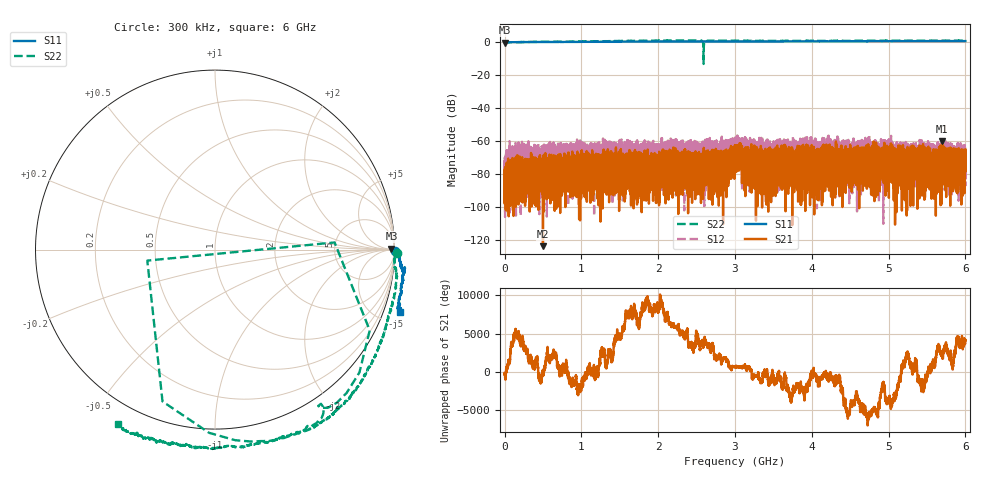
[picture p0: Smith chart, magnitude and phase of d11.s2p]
!Agilent Technologies,N5230C,SG49000117,A.08.50.07
!Agilent N5230C: A.08.50.07
!Date: Friday, May 17, 2024 03:34:48
!Correction: S11(Full 2 Port(1,2))
!S21(Full 2 Port(1,2))
!S12(Full 2 Port(1,2))
!S22(Full 2 Port(1,2))
!S2P File: Measurements: S11, S21, S12, S22:
# Hz S  MA  R 50
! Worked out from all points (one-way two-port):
!   20001 points, 300 kHz to 6 GHz, reference 50 ohm
!   highest |S21| = -60.07 dB at 5.697 GHz (marker M1); lowest = -123.7 dB at 499.8 MHz (marker M2)
!   lowest |S11| = -0.1 dB at 600 kHz (marker M3), VSWR 116.57, Z = 5.21e+03 + j1.8e+03 ohm
!   |S11| at or under -10 dB: nowhere
!   |S22| runs from -13.2 to 1.1 dB; largest |S21 - S12| = 0.0018
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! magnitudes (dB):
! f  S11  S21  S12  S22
! 300 kHz  0.0  -77.7  -73.8  0.1
! 600 kHz  -0.1  -97.9  -76.1  -0.3
! 87 MHz  0.0  -71.6  -67.6  0.0
! 499.8 MHz  0.2  -123.7  -71.2  0.3
! 1 GHz  0.2  -72.8  -71.0  0.5
! 2 GHz  0.5  -72.8  -68.8  1.0
! 2.18 GHz  0.5  -70.3  -69.4  1.1
! 2.291 GHz  0.5  -76.0  -70.6  1.1
! 2.759 GHz  0.5  -70.9  -68.2  1.0
! 3 GHz  0.5  -65.3  -62.7  0.9
! 3.061 GHz  0.5  -66.0  -61.4  0.9
! 3.381 GHz  0.5  -90.1  -67.3  0.9
! 4 GHz  0.5  -76.1  -60.0  0.9
! 4.205 GHz  0.6  -72.6  -70.7  0.8
! 4.36 GHz  0.6  -76.5  -69.4  0.9
! 5 GHz  0.7  -69.1  -73.6  0.9
! 5.272 GHz  0.7  -80.1  -79.8  1.0
! 5.434 GHz  0.7  -72.8  -66.4  1.0
! 5.567 GHz  0.7  -72.7  -63.4  1.0
! 5.697 GHz  0.7  -60.1  -64.1  1.0
! 5.937 GHz  0.7  -73.6  -64.7  1.0
! 6 GHz  0.7  -76.9  -63.9  0.9
